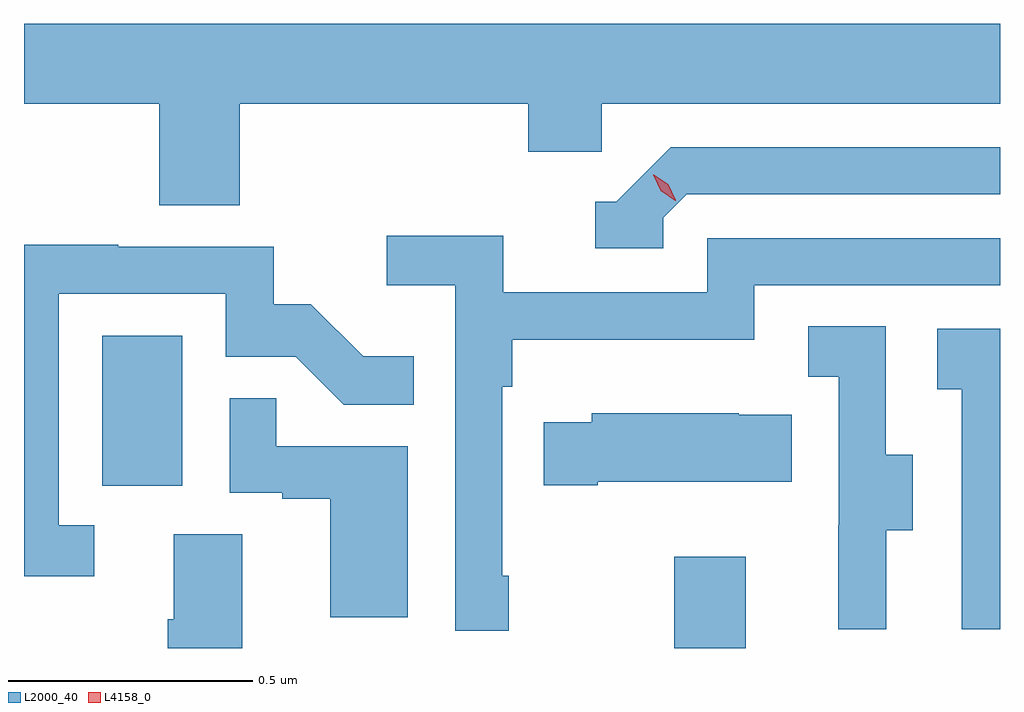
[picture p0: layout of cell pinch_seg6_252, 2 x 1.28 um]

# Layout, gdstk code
import gdstk
lib = gdstk.Library(unit=1e-6, precision=1e-09)
def R(c, l, rs):  # rectangles x0, y0, x1, y1
    for r in rs: c.add(gdstk.rectangle(r[:2], r[2:], *l))
def P(c, l, *ps):  # polygons
    for p in ps: c.add(gdstk.Polygon(p, *l))
L2000_40 = (2000, 40)
L4158_0 = (4158, 0)

pinch_seg6_252 = lib.new_cell('pinch_seg6_252')
R(pinch_seg6_252, L2000_40, [(1120.648,918.249,1120.795,918.436), (1119.476,918.582,1119.64,918.889)])
P(pinch_seg6_252, L2000_40, [(1119.758,919.364),(1120.349,919.364),(1120.349,919.266),(1120.5,919.266),(1120.5,919.364),(1121.316,919.364),(1121.316,919.528),(1119.316,919.528),(1119.316,919.364),(1119.593,919.364),(1119.593,919.156),(1119.758,919.156)],
  [(1120.626,919.131),(1120.674,919.179),(1121.316,919.179),(1121.316,919.275),(1120.641,919.275),(1120.53,919.164),(1120.487,919.164),(1120.487,919.068),(1120.626,919.068)],
  [(1120.309,918.397),(1120.296,918.397),(1120.296,918.785),(1120.316,918.785),(1120.316,918.881),(1120.812,918.881),(1120.812,918.993),(1121.316,918.993),(1121.316,919.089),(1120.716,919.089),(1120.716,918.978),(1120.298,918.978),(1120.298,919.094),(1120.059,919.094),(1120.059,918.992),(1120.2,918.992),(1120.2,918.285),(1120.309,918.285)],
  [(1119.46,918.501),(1119.387,918.501),(1119.387,918.975),(1119.729,918.975),(1119.729,918.846),(1119.873,918.846),(1119.971,918.748),(1120.115,918.748),(1120.115,918.847),(1120.011,918.847),(1119.904,918.954),(1119.828,918.954),(1119.828,919.071),(1119.509,919.071),(1119.509,919.076),(1119.316,919.076),(1119.316,918.396),(1119.46,918.396)],
  [(1121.083,918.49),(1121.137,918.49),(1121.137,918.645),(1121.082,918.645),(1121.082,918.908),(1120.923,918.908),(1120.923,918.805),(1120.986,918.805),(1120.986,918.501),(1120.985,918.501),(1120.985,918.288),(1121.083,918.288)],
  [(1121.316,918.903),(1121.187,918.903),(1121.187,918.779),(1121.238,918.779),(1121.238,918.288),(1121.316,918.288)],
  [(1120.102,918.663),(1119.833,918.663),(1119.833,918.761),(1119.738,918.761),(1119.738,918.567),(1119.845,918.567),(1119.845,918.555),(1119.944,918.555),(1119.944,918.312),(1120.102,918.312)],
  [(1120.492,918.59),(1120.889,918.59),(1120.889,918.727),(1120.781,918.727),(1120.781,918.73),(1120.479,918.73),(1120.479,918.712),(1120.381,918.712),(1120.381,918.583),(1120.492,918.583)],
  [(1119.763,918.482),(1119.623,918.482),(1119.623,918.308),(1119.611,918.308),(1119.611,918.249),(1119.763,918.249)])
P(pinch_seg6_252, L4158_0, [(1120.651,919.166),(1120.621,919.186),(1120.605,919.219),(1120.605,919.219),(1120.606,919.219),(1120.636,919.199),(1120.652,919.167),(1120.652,919.166)])

lib.write_gds('pinch_seg6_252.gds')
